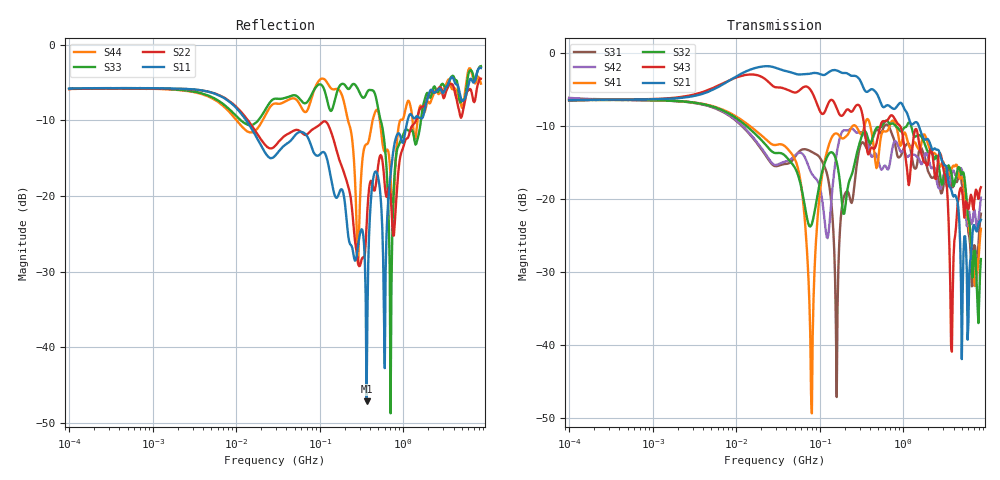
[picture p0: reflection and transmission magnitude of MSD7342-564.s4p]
# MHz S MA R 50
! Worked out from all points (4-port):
!   498 points, 100 kHz to 8.5 GHz, reference 50 ohm
!   strongest paths, dB at 100 kHz, 1.698 MHz, 29.49 MHz, 500.7 MHz, 8.5 GHz:
!     S21: -6.5, -6.2, -2.0, -5.9, -22.9
!     S43: -6.5, -6.2, -4.7, -11.4, -18.4
!     S32: -6.5, -6.6, -13.7, -10.1, -28.2
!     S41: -6.5, -6.6, -12.6, -14.7, -24.1
!     S42: -6.1, -6.5, -15.4, -14.7, -19.8
!     S31: -6.2, -6.6, -15.5, -10.6, -22.0
!   lowest |S11| = -47.1 dB at 363.7 MHz (marker M1), VSWR 1.01, Z = 50.2 - j0.368 ohm
!   |S11| at or under -10 dB: 13.17 MHz to 1.129 GHz (1.116 GHz wide, 195 % of centre)
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0.1  0.5115 6.6  0.474 8.1  0.4912 -8.0  0.4725 -173.2
     0.474 8.1  0.5089 6.6  0.473 -173.1  0.493 -8.0
     0.4912 -8.0  0.473 -173.1  0.5107 6.7  0.4744 7.9
     0.4725 -173.2  0.493 -8.0  0.4744 7.9  0.5085 6.6
40.59995  0.2224 -15.7  0.7493 -9.8  0.1741 172.9  0.2228 17.6
          0.7493 -9.8  0.2553 -11.5  0.1916 18.5  0.1818 173.8
          0.1741 172.9  0.1916 18.5  0.4482 0.5  0.5619 -19.3
          0.2228 17.6  0.1818 173.8  0.5619 -19.3  0.4271 -0.6
78.73314  0.2154 -49.3  0.7248 -15.1  0.2115 51.8  0.00467 -49.8
          0.7248 -15.1  0.2704 -22.4  0.06548 -163.2  0.152 53.0
          0.2115 51.8  0.06548 -163.2  0.459 -1.9  0.5524 -35.9
          0.00467 -49.8  0.152 53.0  0.5524 -35.9  0.4316 1.1
159.8183  0.09722 -62.5  0.76 -34.2  0.004388 173.1  0.2809 28.3
          0.76 -34.2  0.1986 -75.5  0.1782 15.9  0.2059 69.1
          0.004388 173.1  0.1782 15.9  0.4786 -14.7  0.417 -47.3
          0.2809 28.3  0.2059 69.1  0.417 -47.3  0.5096 -53.2
363.6528  0.00441 -56.2  0.5416 -76.5  0.2228 -7.1  0.3495 -37.0
          0.5416 -76.5  0.06317 12.3  0.28 -11.3  0.2545 -52.4
          0.2228 -7.1  0.28 -11.3  0.4758 -72.6  0.2296 -93.1
          0.3495 -37.0  0.2545 -52.4  0.2296 -93.1  0.2196 -35.8
705.2109  0.1381 13.8  0.4266 -123.8  0.2952 -101.2  0.3303 -89.3
          0.4266 -123.8  0.101 -85.0  0.3266 -84.6  0.1873 -79.1
          0.2952 -101.2  0.3266 -84.6  0.003673 -131.3  0.3725 -111.7
          0.3303 -89.3  0.1873 -79.1  0.3725 -111.7  0.1339 -126.7
8500  0.7009 -65.7  0.07201 52.7  0.07919 4.6  0.06239 -30.1
      0.07201 52.7  0.5953 -68.2  0.03874 -5.9  0.1022 -70.9
      0.07919 4.6  0.03874 -5.9  0.7201 -65.0  0.1203 23.1
      0.06239 -30.1  0.1022 -70.9  0.1203 23.1  0.5525 -94.4
